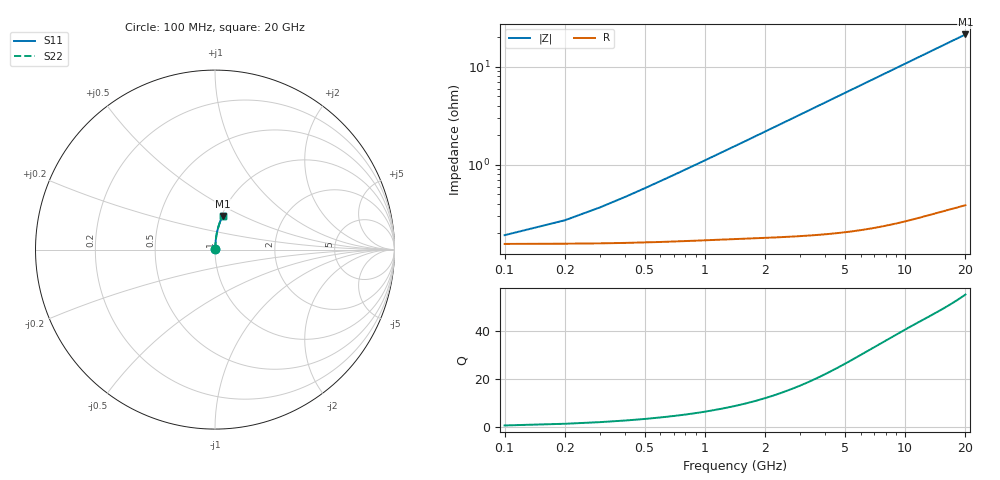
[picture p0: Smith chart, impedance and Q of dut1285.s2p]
! Touchstone file exported from HFSS 2024.1.0
!  File:  C:/UserFiles/LocalFiles/RDL_TSV_Batchsim/temp_RDL_top_1285_1780242699.aedt
!  Generated:  11:53:46 PM May 31, 2026
!  Design:  RDL_top
!  Project:  temp_RDL_top_1285_1780242699
!  Setup:  Setup1
!  Solution:  Sweep
! Variables:
!  dtsv = 10.80580581um
!  hbump = 3um
!  htsv = 61.12um
!  ldown = 100um
!  lrdl = 104.32um
!  p = 40
!  p1 = 54.05um
!  rhole = 1um
!  t = 450um
!  tdown = 3.915915916um
!  trdl = 2.72um
!  wdown = 15.38538539um
!  wrdl = 10.11um
# GHz S MA R 50.000000
! Terminal data exported
! Port[1] = Box2_T1
! Port[2] = Box2_T2
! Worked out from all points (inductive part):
!   200 points, 100 MHz to 20 GHz, reference 50 ohm
!   read as one part in series: L = 176 pH near 500 MHz
!   highest Q = 55.4 at 20 GHz (marker M1), where L = 171 pH
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0.1  0.00184 32.2  0.9984 -0.1  0.9984 -0.1  0.00184 32.2
! Gamma 0 0 0 0
! Port Impedance 50 0 50 0
0.2  0.002509 51.3  0.9984 -0.1  0.9984 -0.1  0.002509 51.3
0.3  0.003333 61.6  0.9984 -0.2  0.9984 -0.2  0.003333 61.6
0.4  0.00422 67.6  0.9984 -0.3  0.9984 -0.3  0.00422 67.6
0.5  0.005135 71.5  0.9984 -0.4  0.9984 -0.4  0.005135 71.5
0.6  0.006062 74.2  0.9983 -0.4  0.9983 -0.4  0.006062 74.2
0.8  0.007934 77.6  0.9983 -0.6  0.9983 -0.6  0.007934 77.6
1.1  0.01076 80.4  0.9982 -0.8  0.9982 -0.8  0.01076 80.4
1.5  0.01454 82.5  0.998 -1.0  0.998 -1.0  0.01454 82.5
1.8  0.01739 83.4  0.9979 -1.3  0.9979 -1.3  0.01739 83.4
2.1  0.02024 84.0  0.9978 -1.5  0.9978 -1.5  0.02024 84.0
2.7  0.02597 84.8  0.9975 -1.9  0.9975 -1.9  0.02597 84.8
3.5  0.03363 85.3  0.997 -2.4  0.997 -2.4  0.03363 85.3
4.2  0.04037 85.4  0.9964 -2.9  0.9964 -2.9  0.04037 85.4
5  0.04808 85.4  0.9957 -3.5  0.9957 -3.5  0.04808 85.4
5.9  0.0568 85.2  0.9948 -4.1  0.9948 -4.1  0.05679 85.2
6.8  0.06553 84.9  0.9938 -4.7  0.9938 -4.7  0.06553 84.9
8.3  0.08012 84.3  0.992 -5.7  0.992 -5.7  0.08012 84.3
10.1  0.09764 83.4  0.9895 -6.9  0.9895 -6.9  0.09763 83.3
13.4  0.1296 81.4  0.9843 -9.0  0.9843 -9.0  0.1296 81.4
16.7  0.1611 79.4  0.9784 -11.1  0.9784 -11.1  0.1611 79.4
20  0.192 77.3  0.9718 -13.2  0.9718 -13.2  0.192 77.3
